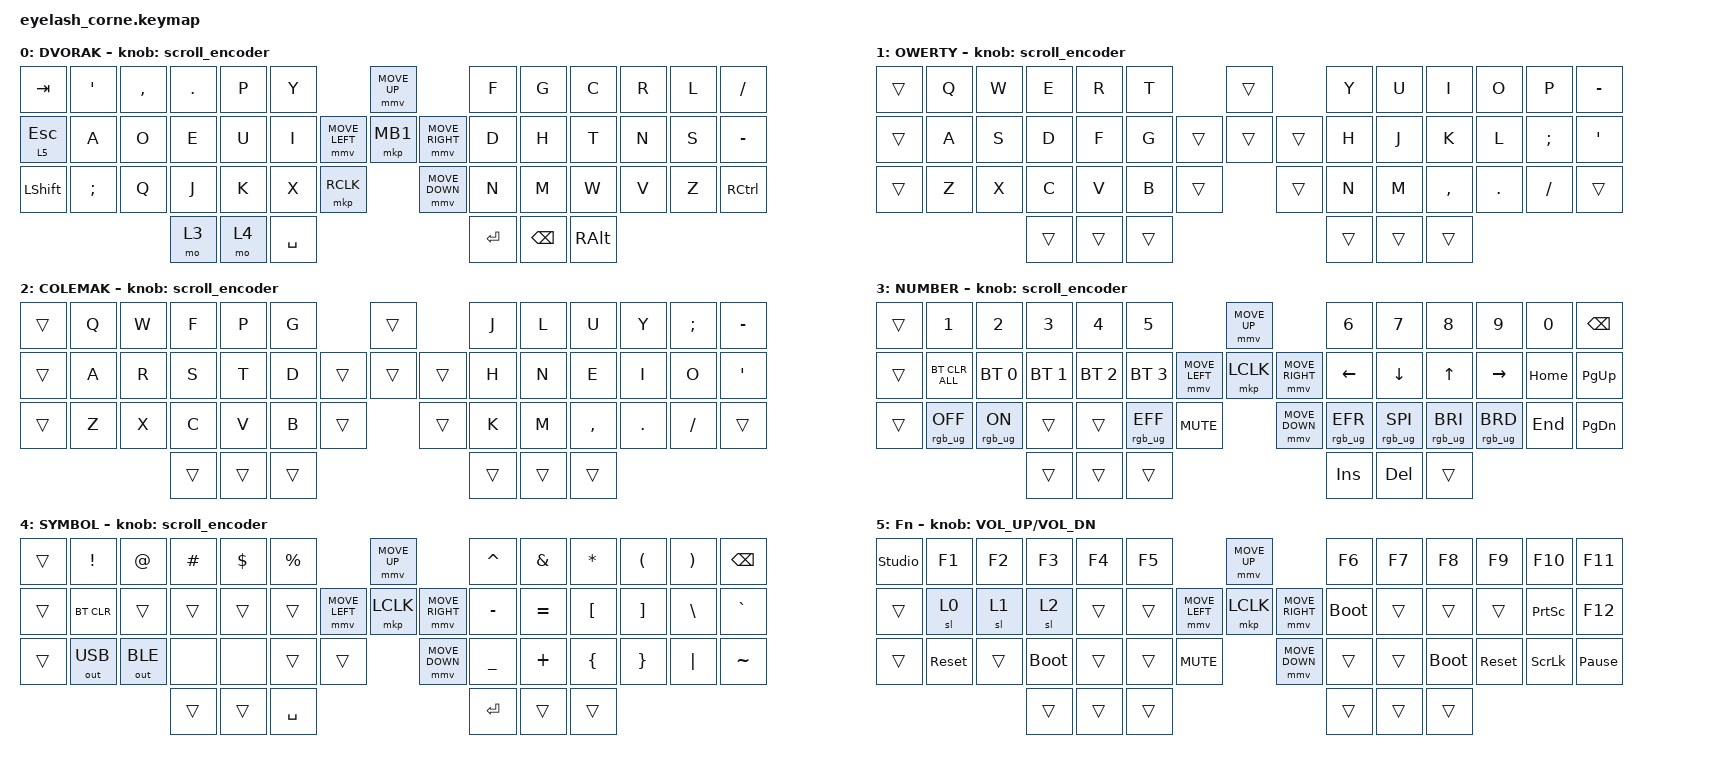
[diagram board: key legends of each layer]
#define ZMK_POINTING_DEFAULT_MOVE_VAL 1200  // 600
#define ZMK_POINTING_DEFAULT_SCRL_VAL 100   // 10

#include <input/processors.dtsi>
#include <zephyr/dt-bindings/input/input-event-codes.h>
#include <behaviors.dtsi>
#include <dt-bindings/zmk/bt.h>
#include <dt-bindings/zmk/keys.h>
#include <dt-bindings/zmk/outputs.h>
#include <dt-bindings/zmk/pointing.h>
#include <dt-bindings/zmk/rgb.h>

&mmv_input_listener { input-processors = <&zip_xy_scaler 2 1>; };

&msc_input_listener { input-processors = <&zip_scroll_scaler 2 1>; };

&msc {
    acceleration-exponent = <1>;      // 0
    time-to-max-speed-ms = <100>;       // 300
    delay-ms = <0>;                   // 0
};

&mmv {
    time-to-max-speed-ms = <500>;
    acceleration-exponent = <1>;
    trigger-period-ms = <16>;
};

/ {
    behaviors {
        td0: td0 {
            compatible = "zmk,behavior-tap-dance";
            display-name = "Shift/Caps Lock Tap Dance";
            #binding-cells = <0>;
            bindings = <&kp LEFT_SHIFT>, <&kp CAPS>;
        };
    };

    rgb_encoder: rgb_encoder {
        compatible = "zmk,behavior-sensor-rotate";
        #sensor-binding-cells = <0>;
        bindings = <&rgb_ug RGB_BRI>, <&rgb_ug RGB_BRD>;
    };

    scroll_encoder: scroll_encoder {
        compatible = "zmk,behavior-sensor-rotate";
        #sensor-binding-cells = <0>;
        bindings = <&msc SCRL_DOWN>, <&msc SCRL_UP>;

        tap-ms = <100>;
    };

    keymap {
        compatible = "zmk,keymap";

        default_layer {
            display-name = "DVORAK";
            bindings = <
&kp TAB    &kp SQT   &kp COMMA  &kp DOT  &kp P  &kp Y                                   &mmv MOVE_UP                     &kp F      &kp G     &kp C     &kp R  &kp L  &kp FSLH
&lt 5 ESC  &kp A     &kp O      &kp E    &kp U  &kp I                   &mmv MOVE_LEFT  &mkp MB1        &mmv MOVE_RIGHT  &kp D      &kp H     &kp T     &kp N  &kp S  &kp MINUS
&kp LSHFT  &kp SEMI  &kp Q      &kp J    &kp K  &kp X      &mkp RCLK                    &mmv MOVE_DOWN                   &kp N      &kp M     &kp W     &kp V  &kp Z  &kp RCTRL
                                &mo 3    &mo 4  &kp SPACE                                                                &kp ENTER  &kp BSPC  &kp RALT
            >;

            sensor-bindings = <&scroll_encoder>;
        };

        Keymap_2 {
            bindings = <
&trans  &kp Q  &kp W  &kp E   &kp R   &kp T                     &trans          &kp Y   &kp U   &kp I      &kp O    &kp P     &kp MINUS
&trans  &kp A  &kp S  &kp D   &kp F   &kp G             &trans  &trans  &trans  &kp H   &kp J   &kp K      &kp L    &kp SEMI  &kp SQT
&trans  &kp Z  &kp X  &kp C   &kp V   &kp B   &trans            &trans          &kp N   &kp M   &kp COMMA  &kp DOT  &kp FSLH  &trans
                      &trans  &trans  &trans                                    &trans  &trans  &trans
            >;

            label = "OWERTY";
            sensor-bindings = <&scroll_encoder>;
        };

        Keymap_3 {
            bindings = <
&trans  &kp Q  &kp W  &kp F   &kp P   &kp G                     &trans          &kp J   &kp L   &kp U      &kp Y    &kp SEMI  &kp MINUS
&trans  &kp A  &kp R  &kp S   &kp T   &kp D             &trans  &trans  &trans  &kp H   &kp N   &kp E      &kp I    &kp O     &kp APOS
&trans  &kp Z  &kp X  &kp C   &kp V   &kp B   &trans            &trans          &kp K   &kp M   &kp COMMA  &kp DOT  &kp FSLH  &trans
                      &trans  &trans  &trans                                    &trans  &trans  &trans
            >;

            sensor-bindings = <&scroll_encoder>;
            label = "COLEMAK";
        };

        lower_layer {
            display-name = "NUMBER";
            bindings = <
&trans  &kp N1           &kp N2          &kp N3        &kp N4        &kp N5                                         &mmv MOVE_UP                     &kp N6           &kp N7           &kp N8           &kp N9           &kp N0    &kp BSPC
&trans  &bt BT_CLR_ALL   &bt BT_SEL 0    &bt BT_SEL 1  &bt BT_SEL 2  &bt BT_SEL 3                   &mmv MOVE_LEFT  &mkp LCLK       &mmv MOVE_RIGHT  &kp LEFT         &kp DOWN         &kp UP           &kp RIGHT        &kp HOME  &kp PG_UP
&trans  &rgb_ug RGB_OFF  &rgb_ug RGB_ON  &trans        &trans        &rgb_ug RGB_EFF  &kp C_MUTE                    &mmv MOVE_DOWN                   &rgb_ug RGB_EFR  &rgb_ug RGB_SPI  &rgb_ug RGB_BRI  &rgb_ug RGB_BRD  &kp END   &kp PG_DN
                                         &trans        &trans        &trans                                                                          &kp INS          &kp DEL          &trans
            >;

            sensor-bindings = <&scroll_encoder>;
        };

        raise_layer {
            display-name = "SYMBOL";
            bindings = <
&trans  &kp EXCL      &kp AT        &kp HASH  &kp DLLR  &kp PRCNT                            &mmv MOVE_UP                     &kp CARET  &kp AMPS   &kp ASTRK  &kp LPAR  &kp RPAR  &kp BSPC
&trans  &bt BT_CLR    &trans        &trans    &trans    &trans               &mmv MOVE_LEFT  &mkp LCLK       &mmv MOVE_RIGHT  &kp MINUS  &kp EQUAL  &kp LBKT   &kp RBKT  &kp BSLH  &kp GRAVE
&trans  &out OUT_USB  &out OUT_BLE  &none     &none     &trans     &trans                    &mmv MOVE_DOWN                   &kp UNDER  &kp PLUS   &kp LBRC   &kp RBRC  &kp PIPE  &kp TILDE
                                    &trans    &trans    &kp SPACE                                                             &kp RET    &trans     &trans
            >;

            sensor-bindings = <&scroll_encoder>;
        };

        Functions {
            display-name = "Fn";
            bindings = <
&studio_unlock  &kp F1      &kp F2  &kp F3       &kp F4  &kp F5                                &mmv MOVE_UP                     &kp F6       &kp F7  &kp F8       &kp F9      &kp F10          &kp F11
&trans          &sl 0       &sl 1   &sl 2        &trans  &trans                &mmv MOVE_LEFT  &mkp LCLK       &mmv MOVE_RIGHT  &bootloader  &trans  &trans       &trans      &kp PRINTSCREEN  &kp F12
&trans          &sys_reset  &trans  &bootloader  &trans  &trans  &kp C_MUTE                    &mmv MOVE_DOWN                   &trans       &trans  &bootloader  &sys_reset  &kp SCROLLLOCK   &kp PAUSE_BREAK
                                    &trans       &trans  &trans                                                                 &trans       &trans  &trans
            >;

            sensor-bindings = <&inc_dec_kp C_VOL_UP C_VOL_DN>;
        };
    };
};
